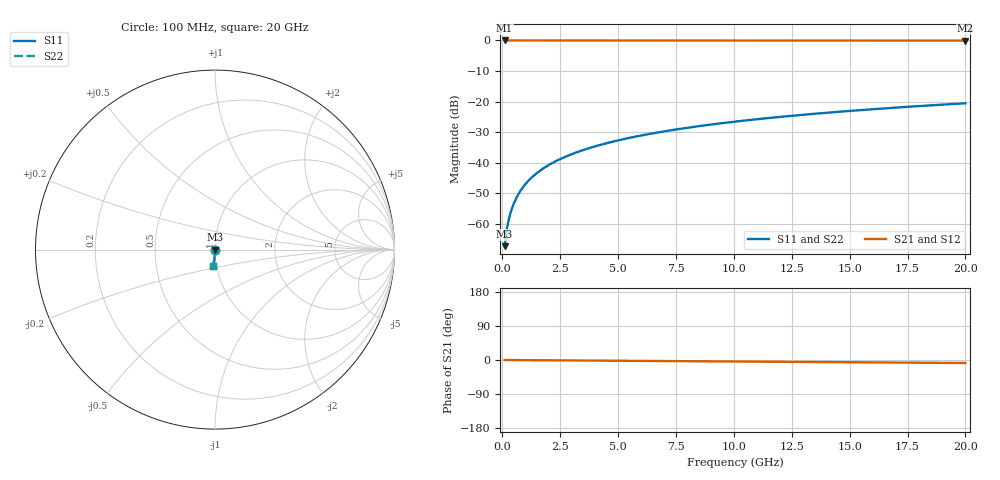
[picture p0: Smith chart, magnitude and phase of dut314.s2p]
! Touchstone file exported from HFSS 2026.1.0
!  File:  C:/ffzhzh/LocalFiles/Ansys_Project_Files/temp_train_TSV_314_1783018198_51716.aedt
!  Generated:  02:51:19 AM Jul  3, 2026
!  Design:  TSV
!  Project:  temp_train_TSV_314_1783018198_51716
! Variables:
!  h_bsmrdl = 2um
!  h_ox = 20um
!  h_rdl = 5um
!  h_sub = 61.15um
!  h_tmrdl = 5um
!  h_tsv = 61.15um
!  h_via = 3um
!  l_bsmrdl = 300um
!  l_sub = 419.02um
!  l_tmrdl = 200um
!  m_sub = 200um
!  pitch = 22.14um
!  r_tsv = 9.51um
!  s_tmrdl = 10um
!  w_bsmrdl = 18um
!  w_sub = 500um
!  w_tmrdl = 12um
!  x_tsv_center1 = 206um
!  x_tsv_center2 = 524um
!  x_tsv_center3 = 736um
!  x_tsv_center4 = 1054um
!  x_tsv_center5 = 1266um
!  x_tsv_center6 = 1584um
# GHz S MA R 50.000000
! Terminal data exported
! Port[1] = TSV1_1_T1
! Port[2] = TSV1_1_T2
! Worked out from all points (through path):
!   200 points, 100 MHz to 20 GHz, reference 50 ohm
!   highest |S21| = 0.00 dB at 100 MHz (marker M1); lowest = -0.1 dB at 20 GHz (marker M2)
!   group delay of S21, straight-line fit = 1.09 ps
!   lowest |S11| = -67.3 dB at 100 MHz (marker M3), VSWR 1.00, Z = 50 - j0.0412 ohm
!   |S11| at or under -10 dB: start of sweep to end of sweep
!   |S22| runs from -67.3 to -20.6 dB; largest |S21 - S12| = 2.4e-14
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0.1  0.0004323 -72.4  0.9999 -0.0  0.9999 -0.0  0.0004323 -72.4
! Gamma 0 0 0 0
! Port Impedance 50 0 50 0
0.2  0.0008448 -79.7  0.9998 -0.1  0.9998 -0.1  0.0008448 -79.7
0.3  0.001274 -81.9  0.9998 -0.1  0.9998 -0.1  0.001274 -81.9
0.4  0.001715 -82.9  0.9998 -0.2  0.9998 -0.2  0.001715 -82.9
0.5  0.002166 -83.6  0.9997 -0.2  0.9997 -0.2  0.002166 -83.6
0.7  0.003085 -84.6  0.9997 -0.3  0.9997 -0.3  0.003085 -84.6
0.8  0.003549 -85.0  0.9997 -0.3  0.9997 -0.3  0.003549 -85.0
1  0.004482 -85.7  0.9996 -0.4  0.9996 -0.4  0.004482 -85.7
1.2  0.005416 -86.3  0.9996 -0.5  0.9996 -0.5  0.005416 -86.3
1.4  0.00635 -86.8  0.9996 -0.6  0.9996 -0.6  0.00635 -86.8
1.7  0.007751 -87.4  0.9995 -0.7  0.9995 -0.7  0.007751 -87.4
2  0.009151 -87.8  0.9995 -0.8  0.9995 -0.8  0.009151 -87.8
2.7  0.01242 -88.6  0.9994 -1.1  0.9994 -1.1  0.01242 -88.6
3.5  0.01616 -89.2  0.9993 -1.4  0.9993 -1.4  0.01616 -89.2
4.2  0.01945 -89.7  0.9991 -1.7  0.9991 -1.7  0.01945 -89.7
5  0.02321 -90.1  0.999 -2.0  0.999 -2.0  0.02321 -90.1
6.8  0.0317 -91.1  0.9986 -2.7  0.9986 -2.7  0.0317 -91.1
8.3  0.03878 -91.8  0.9983 -3.3  0.9983 -3.3  0.03878 -91.8
10.1  0.04728 -92.7  0.9978 -4.0  0.9978 -4.0  0.04728 -92.7
13.4  0.06285 -94.1  0.9968 -5.3  0.9968 -5.3  0.06285 -94.1
16.7  0.07837 -95.5  0.9955 -6.6  0.9955 -6.6  0.07837 -95.5
20  0.09383 -96.9  0.994 -7.9  0.994 -7.9  0.09383 -96.9
